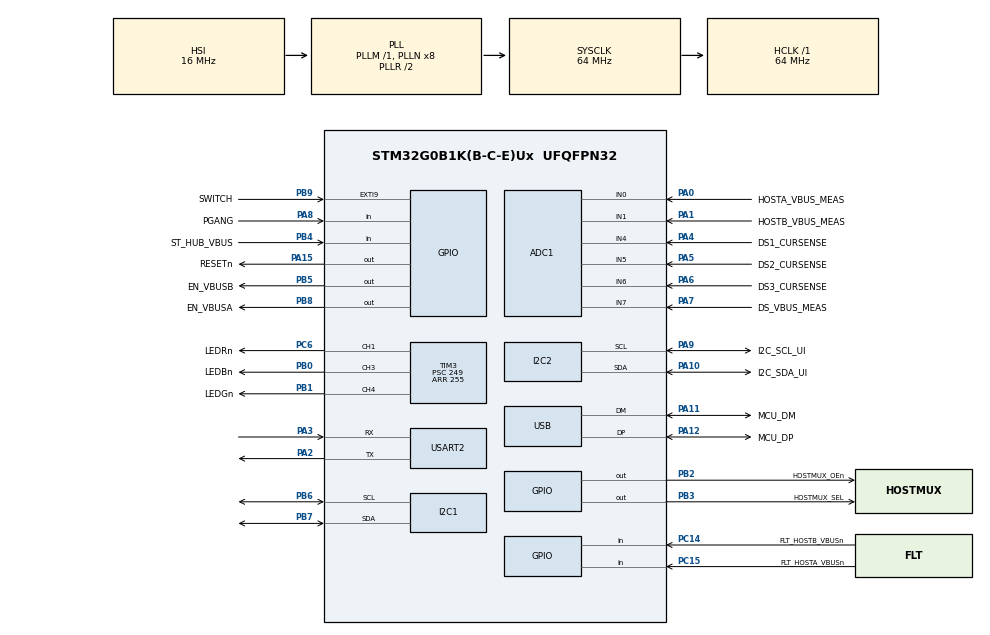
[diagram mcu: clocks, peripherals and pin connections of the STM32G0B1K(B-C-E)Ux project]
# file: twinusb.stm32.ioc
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ADC1.Channel-0\#ChannelRegularConversion=ADC_CHANNEL_1
ADC1.ContinuousConvMode=DISABLE
ADC1.NbrOfConversionFlag=1
ADC1.Rank-0\#ChannelRegularConversion=1
ADC1.SamplingTime-0\#ChannelRegularConversion=ADC_SAMPLINGTIME_COMMON_1
ADC1.SelectedChannel=ADC_CHANNEL_0|ADC_CHANNEL_1|ADC_CHANNEL_4|ADC_CHANNEL_5|ADC_CHANNEL_6|ADC_CHANNEL_7
ADC1.master=1
I2C1.Timing=0x10B17DB5
I2C2.Analog_Filter=I2C_ANALOGFILTER_ENABLE
I2C2.Timing=0x10B17DB5
Mcu.Family=STM32G0
Mcu.Name=STM32G0B1K(B-C-E)Ux
Mcu.Package=UFQFPN32
NVIC.EXTI4_15_IRQn=true\:0\:0\:false\:false\:true\:true\:true\:true
NVIC.I2C2_3_IRQn=true\:0\:0\:false\:false\:true\:true\:true\:true
NVIC.TIM14_IRQn=true\:0\:0\:false\:false\:true\:true\:true\:true
NVIC.USART2_LPUART2_IRQn=true\:0\:0\:false\:false\:true\:true\:true\:true
PA0.GPIO_Label=HOSTA_VBUS_MEAS
PA0.Mode=IN0
PA0.Signal=ADC1_IN0
PA1.GPIO_Label=HOSTB_VBUS_MEAS
PA1.Mode=IN1
PA1.Signal=ADC1_IN1
PA10.GPIO_Label=I2C_SDA_UI
PA10.Mode=I2C
PA10.Signal=I2C2_SDA
PA11\ [PA9].GPIO_Label=MCU_DM
PA11\ [PA9].Mode=Device
PA11\ [PA9].Signal=USB_DM
PA12\ [PA10].GPIO_Label=MCU_DP
PA12\ [PA10].Mode=Device
PA12\ [PA10].Signal=USB_DP
PA13.Mode=Serial_Wire
PA13.Signal=SYS_SWDIO
PA14-BOOT0.Mode=Serial_Wire
PA14-BOOT0.Signal=SYS_SWCLK
PA15.GPIO_Label=RESETn
PA15.Signal=GPIO_Output
PA2.Mode=Asynchronous
PA2.Signal=USART2_TX
PA3.Mode=Asynchronous
PA3.Signal=USART2_RX
PA4.GPIO_Label=DS1_CURSENSE
PA4.Mode=IN4
PA4.Signal=ADC1_IN4
PA5.GPIO_Label=DS2_CURSENSE
PA5.Mode=IN5
PA5.Signal=ADC1_IN5
PA6.GPIO_Label=DS3_CURSENSE
PA6.Mode=IN6
PA6.Signal=ADC1_IN6
PA7.GPIO_Label=DS_VBUS_MEAS
PA7.Mode=IN7
PA7.Signal=ADC1_IN7
PA8.GPIO_Label=PGANG
PA8.Signal=GPIO_Input
PA9.GPIO_Label=I2C_SCL_UI
PA9.Mode=I2C
PA9.Signal=I2C2_SCL
PB0.GPIO_Label=LEDBn
PB0.Signal=S_TIM3_CH3
PB1.GPIO_Label=LEDGn
PB1.Signal=S_TIM3_CH4
PB2.GPIO_Label=HOSTMUX_OEn
PB2.Signal=GPIO_Output
PB3.GPIO_Label=HOSTMUX_SEL
PB3.Signal=GPIO_Output
PB4.GPIO_Label=ST_HUB_VBUS
PB4.Signal=GPIO_Input
PB5.GPIO_Label=EN_VBUSB
PB5.Signal=GPIO_Output
PB6.GPIO_Mode=GPIO_MODE_AF_OD
PB6.GPIO_Pu=GPIO_NOPULL
PB6.GPIO_Speed=GPIO_SPEED_FREQ_LOW
PB6.Mode=I2C
PB6.Signal=I2C1_SCL
PB7.GPIO_Mode=GPIO_MODE_AF_OD
PB7.GPIO_Pu=GPIO_NOPULL
PB7.GPIO_Speed=GPIO_SPEED_FREQ_LOW
PB7.Mode=I2C
PB7.Signal=I2C1_SDA
PB8.GPIO_Label=EN_VBUSA
PB8.Signal=GPIO_Output
PB9.GPIO_Label=SWITCH
PB9.GPIO_ModeDefaultEXTI=GPIO_MODE_IT_RISING_FALLING
PB9.Signal=GPXTI9
PC14-OSC32_IN\ (PC14).GPIO_Label=FLT_HOSTB_VBUSn
PC14-OSC32_IN\ (PC14).Signal=GPIO_Input
PC15-OSC32_OUT\ (PC15).GPIO_Label=FLT_HOSTA_VBUSn
PC15-OSC32_OUT\ (PC15).Signal=GPIO_Input
PC6.GPIO_Label=LEDRn
PC6.Signal=S_TIM3_CH1
ProjectManager.HeapSize=0x200
ProjectManager.StackSize=0x400
ProjectManager.TargetToolchain=STM32CubeIDE
RCC.ADCFreq_Value=64000000
RCC.AHBFreq_Value=64000000
RCC.CortexFreq_Value=64000000
RCC.EXTERNAL_CLOCK_VALUE=48000
RCC.HCLKFreq_Value=64000000
RCC.HSE_VALUE=8000000
RCC.HSI48_VALUE=48000000
RCC.HSI_VALUE=16000000
RCC.LSE_VALUE=32768
RCC.SYSCLKFreq_VALUE=64000000
RCC.SYSCLKSource=RCC_SYSCLKSOURCE_PLLCLK
RCC.USBFreq_Value=48000000
RCC.VCOOutputFreq_Value=128000000
SH.S_TIM3_CH1.0=TIM3_CH1,PWM Generation1 CH1
SH.S_TIM3_CH3.0=TIM3_CH3,PWM Generation3 CH3
SH.S_TIM3_CH4.0=TIM3_CH4,PWM Generation4 CH4
TIM14.AutoReloadPreload=TIM_AUTORELOAD_PRELOAD_ENABLE
TIM14.Period=1999
TIM14.Prescaler=639
TIM3.AutoReloadPreload=TIM_AUTORELOAD_PRELOAD_ENABLE
TIM3.Channel-PWM\ Generation1\ CH1=TIM_CHANNEL_1
TIM3.Channel-PWM\ Generation3\ CH3=TIM_CHANNEL_3
TIM3.Channel-PWM\ Generation4\ CH4=TIM_CHANNEL_4
TIM3.Period=255
TIM3.Prescaler=249
USART2.VirtualMode-Asynchronous=VM_ASYNC
USB_DEVICE.CLASS_NAME_FS=CDC
USB_DEVICE.VirtualMode=Cdc
USB_DEVICE.VirtualModeFS=Cdc_FS
VP_RCC_USB.Mode=CRS SYNC Source USB
VP_SYS_VS_DBSignals.Mode=DisableDeadBatterySignals
VP_SYS_V_PVD_IN.Mode=Mode_PVD_Int
VP_TIM14_VS_ClockSourceINT.Mode=Enable_Timer
VP_TIM3_VS_ClockSourceINT.Mode=Internal
VP_USB_DEVICE_VS_USB_DEVICE_CDC_FS.Mode=CDC_FS
board=custom

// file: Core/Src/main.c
/* USER CODE BEGIN Header */
/**
  ******************************************************************************
  * @file           : main.c
  * @brief          : Main program body
  ******************************************************************************
  * @attention
  *
  * Copyright (c) 2026 STMicroelectronics.
  * All rights reserved.
  *
  * This software is licensed under terms that can be found in the LICENSE file
  * in the root directory of this software component.
  * If no LICENSE file comes with this software, it is provided AS-IS.
  *
  ******************************************************************************
  */
/* USER CODE END Header */
#include "main.h"
#include "adc.h"
#include "i2c.h"
#include "tim.h"
#include "usart.h"
#include "usb_device.h"
#include "gpio.h"

/* USER CODE BEGIN Includes */
#include "AppMain.hpp"
#include "Bootloader.hpp"
#include <stdio.h>
/* USER CODE END Includes */

void SystemClock_Config(void);

int main(void)
{

  /* MCU Configuration--------------------------------------------------------*/

  /* Reset of all peripherals, Initializes the Flash interface and the Systick. */
  HAL_Init();

  /* USER CODE BEGIN Init */
  CheckBootloaderSwitch();
  /* USER CODE END Init */

  /* Configure the system clock */
  SystemClock_Config();

  /* Initialize all configured peripherals */
  MX_GPIO_Init();
  MX_ADC1_Init();
  MX_I2C1_Init();
  MX_I2C2_Init();
  MX_USART2_UART_Init();
  MX_USB_Device_Init();
  MX_TIM3_Init();
  MX_TIM14_Init();
  /* USER CODE BEGIN 2 */
  extern uint8_t debugRxByte;

  // 1. Clear any pending error flags (like ORE) that block the UART
  __HAL_UART_CLEAR_FLAG(&huart2, UART_CLEAR_OREF | UART_CLEAR_NEF);

  // 2. Dummy read RDR to clear the RXNE (Read Data Register Not Empty) flag
  volatile uint32_t tmpreg = USART2->RDR;
  (void)tmpreg; // Prevent "unused variable" compiler warning

  // 3. Enable the single-byte UART receiver interrupt in a clean state
  HAL_UART_Receive_IT(&huart2, &debugRxByte, 1);

  // Start the timer for LED animation
  extern TIM_HandleTypeDef htim14;
  HAL_TIM_Base_Start_IT(&htim14);

  AppMain();
  /* USER CODE END 2 */

  /* Infinite loop */
  while (1)
  {

  }
}

void SystemClock_Config(void)
{
  RCC_OscInitTypeDef RCC_OscInitStruct = {0};
  RCC_ClkInitTypeDef RCC_ClkInitStruct = {0};
  RCC_CRSInitTypeDef pInit = {0};

  /** Configure the main internal regulator output voltage
  */
  HAL_PWREx_ControlVoltageScaling(PWR_REGULATOR_VOLTAGE_SCALE1);

  /** Initializes the RCC Oscillators according to the specified parameters
  * in the RCC_OscInitTypeDef structure.
  */
  RCC_OscInitStruct.OscillatorType = RCC_OSCILLATORTYPE_HSI|RCC_OSCILLATORTYPE_HSI48;
  RCC_OscInitStruct.HSIState = RCC_HSI_ON;
  RCC_OscInitStruct.HSI48State = RCC_HSI48_ON;
  RCC_OscInitStruct.HSIDiv = RCC_HSI_DIV1;
  RCC_OscInitStruct.HSICalibrationValue = RCC_HSICALIBRATION_DEFAULT;
  RCC_OscInitStruct.PLL.PLLState = RCC_PLL_ON;
  RCC_OscInitStruct.PLL.PLLSource = RCC_PLLSOURCE_HSI;
  RCC_OscInitStruct.PLL.PLLM = RCC_PLLM_DIV1;
  RCC_OscInitStruct.PLL.PLLN = 8;
  RCC_OscInitStruct.PLL.PLLP = RCC_PLLP_DIV2;
  RCC_OscInitStruct.PLL.PLLQ = RCC_PLLQ_DIV2;
  RCC_OscInitStruct.PLL.PLLR = RCC_PLLR_DIV2;
  if (HAL_RCC_OscConfig(&RCC_OscInitStruct) != HAL_OK)
  {
    Error_Handler();
  }

  /** Initializes the CPU, AHB and APB buses clocks
  */
  RCC_ClkInitStruct.ClockType = RCC_CLOCKTYPE_HCLK|RCC_CLOCKTYPE_SYSCLK
                              |RCC_CLOCKTYPE_PCLK1;
  RCC_ClkInitStruct.SYSCLKSource = RCC_SYSCLKSOURCE_PLLCLK;
  RCC_ClkInitStruct.AHBCLKDivider = RCC_SYSCLK_DIV1;
  RCC_ClkInitStruct.APB1CLKDivider = RCC_HCLK_DIV1;

  if (HAL_RCC_ClockConfig(&RCC_ClkInitStruct, FLASH_LATENCY_2) != HAL_OK)
  {
    Error_Handler();
  }

  /** Enable the SYSCFG APB clock
  */
  __HAL_RCC_CRS_CLK_ENABLE();

  /** Configures CRS
  */
  pInit.Prescaler = RCC_CRS_SYNC_DIV1;
  pInit.Source = RCC_CRS_SYNC_SOURCE_USB;
  pInit.Polarity = RCC_CRS_SYNC_POLARITY_RISING;
  pInit.ReloadValue = __HAL_RCC_CRS_RELOADVALUE_CALCULATE(48000000,1000);
  pInit.ErrorLimitValue = 34;
  pInit.HSI48CalibrationValue = 32;

  HAL_RCCEx_CRSConfig(&pInit);
}

/* USER CODE BEGIN 4 */
uint8_t debugRxByte;

// Compiles the ISR hooks whenever the developer selects the UART console path
#if (CONSOLE_TYPE == CONSOLE_UART)
void HAL_UART_RxCpltCallback(UART_HandleTypeDef *huart) {
    if (huart->Instance == USART2) {
        extern void Console_OnCharReceived(uint8_t byte);
        Console_OnCharReceived(debugRxByte);
        HAL_UART_Receive_IT(&huart2, &debugRxByte, 1);
    }
}

void HAL_UART_ErrorCallback(UART_HandleTypeDef *huart) {
    if (huart->Instance == USART2) {
        __HAL_UART_CLEAR_FLAG(huart, UART_CLEAR_OREF | UART_CLEAR_NEF | UART_CLEAR_FEF);
        HAL_UART_Receive_IT(huart, &debugRxByte, 1);
    }
}
#endif
/* USER CODE END 4 */

void Error_Handler(void)
{
  __disable_irq();
  while (1)
  {
  }
}
